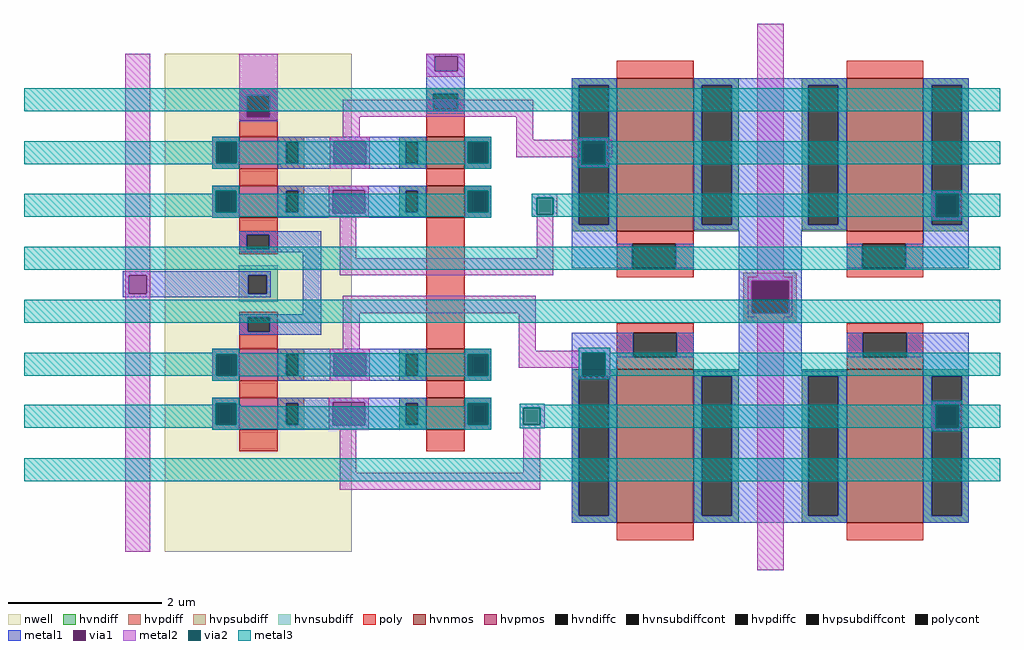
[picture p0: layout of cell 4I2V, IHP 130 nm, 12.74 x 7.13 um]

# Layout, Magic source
magic
tech ihp-sg13g2
magscale 1 2
<< nwell >>
rect 206 -8 694 1292
<< hvnmos >>
rect 888 992 988 1076
rect 888 864 988 948
rect 1386 828 1586 1228
rect 1986 828 2186 1228
rect 888 438 988 522
rect 888 310 988 394
rect 1386 68 1586 468
rect 1986 68 2186 468
<< hvpmos >>
rect 400 992 500 1076
rect 400 864 500 948
rect 400 438 500 522
rect 400 310 500 394
<< hvndiff >>
rect 1268 1210 1386 1228
rect 818 1062 888 1076
rect 818 1006 834 1062
rect 866 1006 888 1062
rect 818 992 888 1006
rect 988 1062 1058 1076
rect 988 1006 1010 1062
rect 1042 1006 1058 1062
rect 988 992 1058 1006
rect 818 934 888 948
rect 818 878 834 934
rect 866 878 888 934
rect 818 864 888 878
rect 988 934 1058 948
rect 988 878 1010 934
rect 1042 878 1058 934
rect 988 864 1058 878
rect 1268 846 1286 1210
rect 1364 846 1386 1210
rect 1268 828 1386 846
rect 1586 1210 1704 1228
rect 1586 846 1608 1210
rect 1686 846 1704 1210
rect 1586 828 1704 846
rect 1868 1210 1986 1228
rect 1868 846 1886 1210
rect 1964 846 1986 1210
rect 1868 828 1986 846
rect 2186 1210 2304 1228
rect 2186 846 2208 1210
rect 2286 846 2304 1210
rect 2186 828 2304 846
rect 818 508 888 522
rect 818 452 834 508
rect 866 452 888 508
rect 818 438 888 452
rect 988 508 1058 522
rect 988 452 1010 508
rect 1042 452 1058 508
rect 988 438 1058 452
rect 1268 450 1386 468
rect 818 380 888 394
rect 818 324 834 380
rect 866 324 888 380
rect 818 310 888 324
rect 988 380 1058 394
rect 988 324 1010 380
rect 1042 324 1058 380
rect 988 310 1058 324
rect 1268 86 1286 450
rect 1364 86 1386 450
rect 1268 68 1386 86
rect 1586 450 1704 468
rect 1586 86 1608 450
rect 1686 86 1704 450
rect 1586 68 1704 86
rect 1868 450 1986 468
rect 1868 86 1886 450
rect 1964 86 1986 450
rect 1868 68 1986 86
rect 2186 450 2304 468
rect 2186 86 2208 450
rect 2286 86 2304 450
rect 2186 68 2304 86
<< hvpdiff >>
rect 330 1062 400 1076
rect 330 1006 346 1062
rect 378 1006 400 1062
rect 330 992 400 1006
rect 500 1062 570 1076
rect 500 1006 522 1062
rect 554 1006 570 1062
rect 500 992 570 1006
rect 330 934 400 948
rect 330 878 346 934
rect 378 878 400 934
rect 330 864 400 878
rect 500 934 570 948
rect 500 878 522 934
rect 554 878 570 934
rect 500 864 570 878
rect 330 508 400 522
rect 330 452 346 508
rect 378 452 400 508
rect 330 438 400 452
rect 500 508 570 522
rect 500 452 522 508
rect 554 452 570 508
rect 500 438 570 452
rect 330 380 400 394
rect 330 324 346 380
rect 378 324 400 380
rect 330 310 400 324
rect 500 380 570 394
rect 500 324 522 380
rect 554 324 570 380
rect 500 310 570 324
<< hvndiffc >>
rect 834 1006 866 1062
rect 1010 1006 1042 1062
rect 834 878 866 934
rect 1010 878 1042 934
rect 1286 846 1364 1210
rect 1608 846 1686 1210
rect 1886 846 1964 1210
rect 2208 846 2286 1210
rect 834 452 866 508
rect 1010 452 1042 508
rect 834 324 866 380
rect 1010 324 1042 380
rect 1286 86 1364 450
rect 1608 86 1686 450
rect 1886 86 1964 450
rect 2208 86 2286 450
<< hvpdiffc >>
rect 346 1006 378 1062
rect 522 1006 554 1062
rect 346 878 378 934
rect 522 878 554 934
rect 346 452 378 508
rect 522 452 554 508
rect 346 324 378 380
rect 522 324 554 380
<< hvpsubdiff >>
rect 1716 700 1856 720
rect 1716 614 1738 700
rect 1834 614 1856 700
rect 1716 594 1856 614
<< hvnsubdiff >>
rect 398 714 500 740
rect 398 666 424 714
rect 472 666 500 714
rect 398 644 500 666
<< hvpsubdiffcont >>
rect 1738 614 1834 700
<< hvnsubdiffcont >>
rect 424 666 472 714
<< poly >>
rect 1386 1228 1586 1274
rect 1986 1228 2186 1274
rect 400 1184 500 1202
rect 400 1126 420 1184
rect 480 1126 500 1184
rect 400 1076 500 1126
rect 888 1188 988 1202
rect 888 1146 906 1188
rect 970 1146 988 1188
rect 888 1076 988 1146
rect 400 948 500 992
rect 888 948 988 992
rect 400 820 500 864
rect 400 782 420 820
rect 478 782 500 820
rect 400 768 500 782
rect 400 604 500 618
rect 400 566 422 604
rect 480 566 500 604
rect 400 522 500 566
rect 888 522 988 864
rect 1386 796 1586 828
rect 1386 732 1426 796
rect 1540 732 1586 796
rect 1386 708 1586 732
rect 1986 796 2186 828
rect 1986 732 2026 796
rect 2140 732 2186 796
rect 1986 708 2186 732
rect 1386 564 1586 588
rect 1386 500 1428 564
rect 1542 500 1586 564
rect 1386 468 1586 500
rect 1986 564 2186 588
rect 1986 500 2028 564
rect 2142 500 2186 564
rect 1986 468 2186 500
rect 400 394 500 438
rect 888 394 988 438
rect 400 254 500 310
rect 888 254 988 310
rect 1386 22 1586 68
rect 1986 22 2186 68
<< polycont >>
rect 420 1126 480 1184
rect 906 1146 970 1188
rect 420 782 478 820
rect 422 566 480 604
rect 1426 732 1540 796
rect 2026 732 2140 796
rect 1428 500 1542 564
rect 2028 500 2142 564
<< metal1 >>
rect 888 1286 988 1292
rect 888 1246 910 1286
rect 970 1246 988 1286
rect 400 1184 500 1202
rect 400 1126 420 1184
rect 480 1126 500 1184
rect 888 1188 988 1246
rect 888 1146 906 1188
rect 970 1146 988 1188
rect 888 1136 988 1146
rect 1268 1210 1386 1228
rect 400 1116 500 1126
rect 330 1062 400 1076
rect 330 1006 340 1062
rect 394 1006 400 1062
rect 330 992 400 1006
rect 500 1064 888 1076
rect 500 1062 646 1064
rect 500 1006 522 1062
rect 554 1006 646 1062
rect 500 1004 646 1006
rect 730 1062 888 1064
rect 730 1006 834 1062
rect 866 1006 888 1062
rect 730 1004 888 1006
rect 500 992 888 1004
rect 988 1062 1058 1076
rect 988 1006 996 1062
rect 1050 1006 1058 1062
rect 988 992 1058 1006
rect 330 934 400 948
rect 330 878 338 934
rect 392 878 400 934
rect 330 864 400 878
rect 500 936 888 948
rect 500 934 644 936
rect 500 878 522 934
rect 554 878 644 934
rect 500 876 644 878
rect 728 934 888 936
rect 728 878 834 934
rect 866 878 888 934
rect 728 876 888 878
rect 500 864 888 876
rect 988 934 1058 948
rect 988 878 996 934
rect 1050 878 1058 934
rect 988 864 1058 878
rect 1268 846 1286 1210
rect 1364 846 1386 1210
rect 400 820 614 828
rect 400 782 420 820
rect 478 782 614 820
rect 400 774 614 782
rect 96 714 482 724
rect 96 666 112 714
rect 158 666 424 714
rect 472 666 482 714
rect 96 656 482 666
rect 566 612 614 774
rect 1268 796 1386 846
rect 1586 1210 1986 1228
rect 1586 846 1608 1210
rect 1686 846 1886 1210
rect 1964 846 1986 1210
rect 1586 832 1986 846
rect 2186 1210 2304 1228
rect 2186 846 2208 1210
rect 2286 846 2304 1210
rect 1268 732 1426 796
rect 1540 732 1586 796
rect 400 604 614 612
rect 400 566 422 604
rect 480 566 614 604
rect 400 558 614 566
rect 1704 700 1868 832
rect 2186 796 2304 846
rect 1986 732 2026 796
rect 2140 732 2304 796
rect 1704 614 1738 700
rect 1834 614 1868 700
rect 330 508 400 522
rect 330 452 340 508
rect 394 452 400 508
rect 330 438 400 452
rect 500 510 888 522
rect 500 508 646 510
rect 500 452 522 508
rect 554 452 646 508
rect 500 450 646 452
rect 730 508 888 510
rect 730 452 834 508
rect 866 452 888 508
rect 730 450 888 452
rect 500 438 888 450
rect 988 508 1058 522
rect 988 452 996 508
rect 1050 452 1058 508
rect 988 438 1058 452
rect 1268 512 1428 564
rect 1268 452 1296 512
rect 1356 500 1428 512
rect 1542 500 1586 564
rect 1356 452 1386 500
rect 1704 464 1868 614
rect 1986 500 2028 564
rect 2142 500 2304 564
rect 1268 450 1386 452
rect 330 380 400 394
rect 330 324 338 380
rect 392 324 400 380
rect 330 310 400 324
rect 500 382 888 394
rect 500 380 644 382
rect 500 324 522 380
rect 554 324 644 380
rect 500 322 644 324
rect 728 380 888 382
rect 728 324 834 380
rect 866 324 888 380
rect 728 322 888 324
rect 500 310 888 322
rect 988 380 1058 394
rect 988 324 996 380
rect 1050 324 1058 380
rect 988 310 1058 324
rect 1268 86 1286 450
rect 1364 86 1386 450
rect 1268 68 1386 86
rect 1586 450 1986 464
rect 1586 86 1608 450
rect 1686 86 1886 450
rect 1964 86 1986 450
rect 1586 68 1986 86
rect 2186 450 2304 500
rect 2186 86 2208 450
rect 2286 86 2304 450
rect 2186 68 2304 86
<< via1 >>
rect 910 1246 970 1286
rect 420 1126 480 1184
rect 340 1006 346 1062
rect 346 1006 378 1062
rect 378 1006 394 1062
rect 646 1004 730 1064
rect 996 1006 1010 1062
rect 1010 1006 1042 1062
rect 1042 1006 1050 1062
rect 338 878 346 934
rect 346 878 378 934
rect 378 878 392 934
rect 644 876 728 936
rect 996 878 1010 934
rect 1010 878 1042 934
rect 1042 878 1050 934
rect 1294 1004 1356 1064
rect 112 666 158 714
rect 2218 866 2278 926
rect 1738 614 1834 700
rect 340 452 346 508
rect 346 452 378 508
rect 378 452 394 508
rect 646 450 730 510
rect 996 452 1010 508
rect 1010 452 1042 508
rect 1042 452 1050 508
rect 1296 452 1356 512
rect 338 324 346 380
rect 346 324 378 380
rect 378 324 392 380
rect 644 322 728 382
rect 996 324 1010 380
rect 1010 324 1042 380
rect 1042 324 1050 380
rect 2218 316 2278 376
<< metal2 >>
rect 102 714 168 1292
rect 400 1184 500 1292
rect 888 1286 988 1292
rect 888 1246 910 1286
rect 970 1246 988 1286
rect 888 1232 988 1246
rect 400 1126 420 1184
rect 480 1126 500 1184
rect 400 1118 500 1126
rect 670 1127 1168 1172
rect 670 1076 715 1127
rect 330 1062 400 1076
rect 330 1006 340 1062
rect 394 1006 400 1062
rect 330 992 400 1006
rect 636 1064 740 1076
rect 636 1004 646 1064
rect 730 1004 740 1064
rect 636 992 740 1004
rect 988 1062 1058 1076
rect 988 1006 996 1062
rect 1050 1006 1058 1062
rect 1123 1067 1168 1127
rect 1284 1067 1366 1074
rect 1123 1064 1374 1067
rect 1123 1022 1294 1064
rect 988 992 1058 1006
rect 1284 1004 1294 1022
rect 1356 1022 1374 1064
rect 1356 1004 1366 1022
rect 1284 994 1366 1004
rect 330 934 400 948
rect 330 878 338 934
rect 392 878 400 934
rect 330 864 400 878
rect 634 936 738 948
rect 634 876 644 936
rect 728 876 738 936
rect 634 864 738 876
rect 988 934 1058 948
rect 988 878 996 934
rect 1050 878 1058 934
rect 988 864 1058 878
rect 1164 916 1230 926
rect 1164 872 1176 916
rect 1220 872 1230 916
rect 1164 866 1230 872
rect 662 758 706 864
rect 1176 758 1220 866
rect 662 714 1220 758
rect 102 666 112 714
rect 158 666 168 714
rect 1752 710 1822 1370
rect 2208 926 2288 936
rect 2208 866 2218 926
rect 2278 866 2288 926
rect 2208 856 2288 866
rect 102 -8 168 666
rect 1728 700 1844 710
rect 670 615 1174 660
rect 670 522 715 615
rect 330 508 400 522
rect 330 452 340 508
rect 394 452 400 508
rect 330 438 400 452
rect 636 510 740 522
rect 636 450 646 510
rect 730 450 740 510
rect 636 438 740 450
rect 988 508 1058 522
rect 988 452 996 508
rect 1050 452 1058 508
rect 1129 517 1174 615
rect 1728 614 1738 700
rect 1834 614 1844 700
rect 1728 604 1844 614
rect 1286 517 1368 524
rect 1129 512 1368 517
rect 1129 472 1296 512
rect 988 438 1058 452
rect 1286 452 1296 472
rect 1356 452 1368 512
rect 1286 442 1368 452
rect 330 380 400 394
rect 330 324 338 380
rect 392 324 400 380
rect 330 310 400 324
rect 634 382 738 394
rect 634 322 644 382
rect 728 322 738 382
rect 634 310 738 322
rect 988 380 1058 394
rect 988 324 996 380
rect 1050 324 1058 380
rect 988 310 1058 324
rect 1132 368 1198 378
rect 1132 324 1142 368
rect 1186 324 1198 368
rect 1132 314 1198 324
rect 662 198 706 310
rect 1142 198 1186 314
rect 662 154 1186 198
rect 1752 -56 1822 604
rect 2208 376 2288 386
rect 2208 316 2218 376
rect 2278 316 2288 376
rect 2208 306 2288 316
<< via2 >>
rect 340 1006 394 1062
rect 996 1006 1050 1062
rect 1294 1004 1356 1064
rect 338 878 392 934
rect 996 878 1050 934
rect 1176 872 1220 916
rect 2218 866 2278 926
rect 340 452 394 508
rect 996 452 1050 508
rect 1296 452 1356 512
rect 338 324 392 380
rect 996 324 1050 380
rect 1142 324 1186 368
rect 2218 316 2278 376
<< metal3 >>
rect -162 1142 2386 1202
rect 330 1064 400 1076
rect 988 1064 1058 1076
rect -162 1062 1058 1064
rect -162 1006 340 1062
rect 394 1006 996 1062
rect 1050 1006 1058 1062
rect -162 1004 1058 1006
rect 330 992 400 1004
rect 988 992 1058 1004
rect 1284 1064 1366 1074
rect 1284 1004 1294 1064
rect 1356 1004 2386 1064
rect 1284 994 1366 1004
rect 330 934 400 948
rect 330 926 338 934
rect -162 878 338 926
rect 392 926 400 934
rect 988 934 1058 948
rect 988 926 996 934
rect 392 878 996 926
rect 1050 878 1058 934
rect 2208 926 2288 936
rect -162 866 1058 878
rect 1164 916 2218 926
rect 1164 872 1176 916
rect 1220 872 2218 916
rect 1164 866 2218 872
rect 2278 866 2386 926
rect 330 864 400 866
rect 988 864 1058 866
rect 2208 856 2288 866
rect -162 728 2386 788
rect -162 590 2386 650
rect 330 512 400 522
rect -162 510 400 512
rect 988 510 1058 522
rect -162 508 1058 510
rect -162 452 340 508
rect 394 452 996 508
rect 1050 452 1058 508
rect 330 450 1058 452
rect 330 438 400 450
rect 988 438 1058 450
rect 1286 512 1368 524
rect 1286 452 1296 512
rect 1356 452 2386 512
rect 1286 442 1368 452
rect 330 380 400 394
rect 330 376 338 380
rect -162 324 338 376
rect 392 376 400 380
rect 988 380 1058 394
rect 392 372 404 376
rect 988 372 996 380
rect 392 324 996 372
rect 1050 324 1058 380
rect -162 316 1058 324
rect 330 312 1058 316
rect 1132 376 1198 378
rect 2208 376 2288 386
rect 1132 368 2218 376
rect 1132 324 1142 368
rect 1186 324 2218 368
rect 1132 316 2218 324
rect 2278 316 2386 376
rect 1132 314 1198 316
rect 330 310 400 312
rect 988 310 1058 312
rect 2208 306 2288 316
rect -162 176 2386 236
<< end >>
